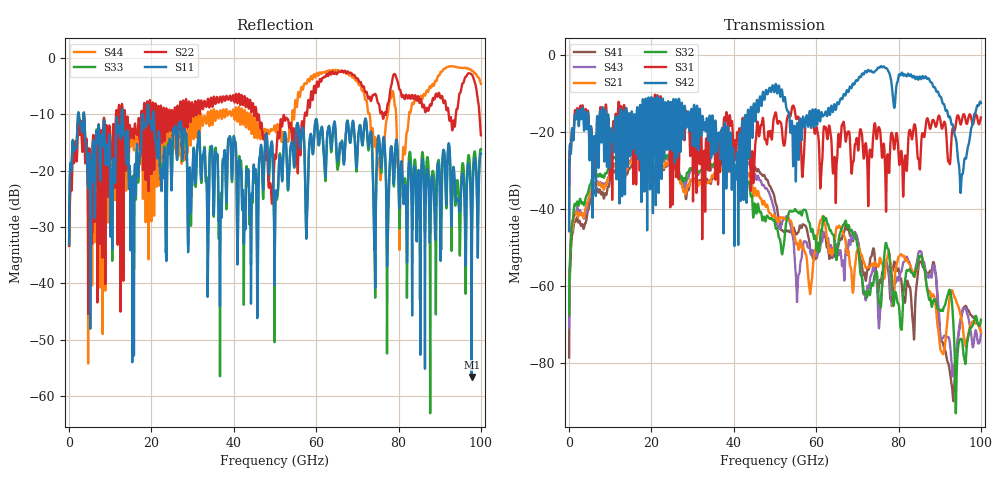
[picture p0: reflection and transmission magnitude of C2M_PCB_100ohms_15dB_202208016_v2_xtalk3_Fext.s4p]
! Info: Touchstone file created by Circ.  Input file=Intel_C2M_200G_4p0in_202208016_staggered.circ
# Hz S RI R 50
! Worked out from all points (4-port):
!   10000 points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, 10 MHz to 100 GHz, reference 50 ohm
!   strongest paths, dB at 10 MHz, 25.01 GHz, 50.01 GHz, 75.01 GHz, 100 GHz:
!     S42: -45.7, -23.6, -8.5, -3.3, -12.5
!     S31: -45.8, -21.2, -15.2, -19.3, -16.2
!     S32: -67.7, -27.2, -44.0, -60.5, -68.8
!     S21: -64.9, -28.6, -42.3, -55.0, -72.1
!     S43: -70.9, -27.6, -41.5, -65.9, -72.6
!     S41: -78.6, -28.7, -37.9, -62.0, -71.9
!   lowest |S11| = -56.6 dB at 97.76 GHz (marker M1), VSWR 1.00, Z = 50.1 - j0.0534 ohm
!   |S11| at or under -10 dB: 3.651 GHz to 12.78 GHz (9.131 GHz wide, 111 % of centre); 13.02 GHz to 17.78 GHz (4.755 GHz wide, 30.9 % of centre); 20.54 GHz to end of sweep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
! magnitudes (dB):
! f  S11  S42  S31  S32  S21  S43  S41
! 10 MHz  -33.1  -45.7  -45.8  -67.7  -64.9  -70.9  -78.6
! 1.53 GHz  -16.0  -15.6  -14.4  -39.0  -41.5  -41.1  -43.3
! 16.94 GHz  -18.2  -23.9  -20.6  -24.0  -25.7  -25.1  -26.6
! 40.6 GHz  -18.6  -31.5  -26.1  -29.1  -29.7  -26.5  -27.0
! 80.41 GHz  -20.8  -5.3  -26.4  -70.1  -52.0  -56.7  -58.1
! 97.76 GHz  -56.6  -18.7  -17.0  -70.7  -69.5  -73.7  -67.7
! 100 GHz  -16.9  -12.5  -16.2  -68.8  -72.1  -72.6  -71.9
